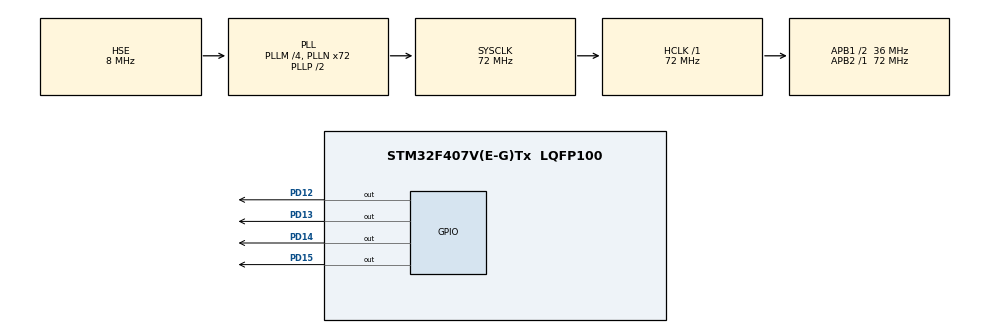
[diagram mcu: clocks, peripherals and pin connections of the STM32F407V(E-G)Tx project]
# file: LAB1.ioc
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Mcu.Family=STM32F4
Mcu.Name=STM32F407V(E-G)Tx
Mcu.Package=LQFP100
NVIC.PriorityGroup=NVIC_PRIORITYGROUP_4
NVIC.TIM2_IRQn=true\:0\:0\:false\:false\:true\:true\:true\:true
PD12.GPIO_Speed=GPIO_SPEED_FREQ_VERY_HIGH
PD12.Signal=GPIO_Output
PD13.GPIO_Speed=GPIO_SPEED_FREQ_VERY_HIGH
PD13.Signal=GPIO_Output
PD14.GPIO_Speed=GPIO_SPEED_FREQ_VERY_HIGH
PD14.Signal=GPIO_Output
PD15.GPIO_Speed=GPIO_SPEED_FREQ_VERY_HIGH
PD15.Signal=GPIO_Output
PH0-OSC_IN.Mode=HSE-External-Oscillator
PH0-OSC_IN.Signal=RCC_OSC_IN
PH1-OSC_OUT.Mode=HSE-External-Oscillator
PH1-OSC_OUT.Signal=RCC_OSC_OUT
ProjectManager.HeapSize=0x200
ProjectManager.StackSize=0x400
ProjectManager.TargetToolchain=Makefile
RCC.48MHZClocksFreq_Value=36000000
RCC.AHBFreq_Value=72000000
RCC.APB1CLKDivider=RCC_HCLK_DIV2
RCC.APB1Freq_Value=36000000
RCC.APB1TimFreq_Value=72000000
RCC.APB2Freq_Value=72000000
RCC.APB2TimFreq_Value=72000000
RCC.CortexFreq_Value=72000000
RCC.HCLKFreq_Value=72000000
RCC.HSE_VALUE=8000000
RCC.HSI_VALUE=16000000
RCC.LSE_VALUE=32768
RCC.PLLM=4
RCC.PLLN=72
RCC.PLLSourceVirtual=RCC_PLLSOURCE_HSE
RCC.SYSCLKFreq_VALUE=72000000
RCC.SYSCLKSource=RCC_SYSCLKSOURCE_PLLCLK
RCC.VCOOutputFreq_Value=144000000
TIM2.Period=35999
TIM2.Prescaler=1
VP_TIM2_VS_ClockSourceINT.Mode=Internal
board=custom

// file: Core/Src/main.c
/* USER CODE BEGIN Header */
/**
  ******************************************************************************
  * @file           : main.c
  * @brief          : Main program body
  ******************************************************************************
  * @attention
  *
  * Copyright (c) 2023 STMicroelectronics.
  * All rights reserved.
  *
  * This software is licensed under terms that can be found in the LICENSE file
  * in the root directory of this software component.
  * If no LICENSE file comes with this software, it is provided AS-IS.
  *
  ******************************************************************************
  */
/* USER CODE END Header */
#include "main.h"
#include "tim.h"
#include "gpio.h"

void SystemClock_Config(void);

void SystemClock_Config(void)
{
  RCC_OscInitTypeDef RCC_OscInitStruct = {0};
  RCC_ClkInitTypeDef RCC_ClkInitStruct = {0};

  /** Configure the main internal regulator output voltage
  */
  __HAL_RCC_PWR_CLK_ENABLE();
  __HAL_PWR_VOLTAGESCALING_CONFIG(PWR_REGULATOR_VOLTAGE_SCALE1);

  /** Initializes the RCC Oscillators according to the specified parameters
  * in the RCC_OscInitTypeDef structure.
  */
  RCC_OscInitStruct.OscillatorType = RCC_OSCILLATORTYPE_HSE;
  RCC_OscInitStruct.HSEState = RCC_HSE_ON;
  RCC_OscInitStruct.PLL.PLLState = RCC_PLL_ON;
  RCC_OscInitStruct.PLL.PLLSource = RCC_PLLSOURCE_HSE;
  RCC_OscInitStruct.PLL.PLLM = 4;
  RCC_OscInitStruct.PLL.PLLN = 72;
  RCC_OscInitStruct.PLL.PLLP = RCC_PLLP_DIV2;
  RCC_OscInitStruct.PLL.PLLQ = 4;
  if (HAL_RCC_OscConfig(&RCC_OscInitStruct) != HAL_OK)
  {
    Error_Handler();
  }

  /** Initializes the CPU, AHB and APB buses clocks
  */
  RCC_ClkInitStruct.ClockType = RCC_CLOCKTYPE_HCLK|RCC_CLOCKTYPE_SYSCLK
                              |RCC_CLOCKTYPE_PCLK1|RCC_CLOCKTYPE_PCLK2;
  RCC_ClkInitStruct.SYSCLKSource = RCC_SYSCLKSOURCE_PLLCLK;
  RCC_ClkInitStruct.AHBCLKDivider = RCC_SYSCLK_DIV1;
  RCC_ClkInitStruct.APB1CLKDivider = RCC_HCLK_DIV2;
  RCC_ClkInitStruct.APB2CLKDivider = RCC_HCLK_DIV1;

  if (HAL_RCC_ClockConfig(&RCC_ClkInitStruct, FLASH_LATENCY_2) != HAL_OK)
  {
    Error_Handler();
  }
}

/* USER CODE BEGIN 4 */

int main(void)
{
  /* INIT functions */
  HAL_Init();
  SystemClock_Config();
  MX_TIM2_Init();
  HAL_TIM_Base_Start_IT(& htim2 );
  MX_GPIO_Init();

  while(1)
  {
    // for(uint32_t i =0; i <1000000; i ++);
    timer2_wait_millisec(2000);

    gpio_led_state( LED3_ORANGE_ID , 1); // turn on
    gpio_led_state( LED4_GREEN_ID , 1); // turn on
    gpio_led_state( LED5_RED_ID , 0); // turn off
    gpio_led_state( LED6_BLUE_ID , 0); // turn off

    // for(uint32_t i =0; i <1000000; i ++);
    timer2_wait_millisec(2000);

    gpio_led_state( LED3_ORANGE_ID , 0); // turn off
    gpio_led_state( LED4_GREEN_ID , 0); // turn off
    gpio_led_state( LED5_RED_ID , 1); // turn on
    gpio_led_state( LED6_BLUE_ID , 1); // turn on
  }
}

/* USER CODE END 4 */

void Error_Handler(void)
{
  __disable_irq();
  while (1)
  {
  }
}
